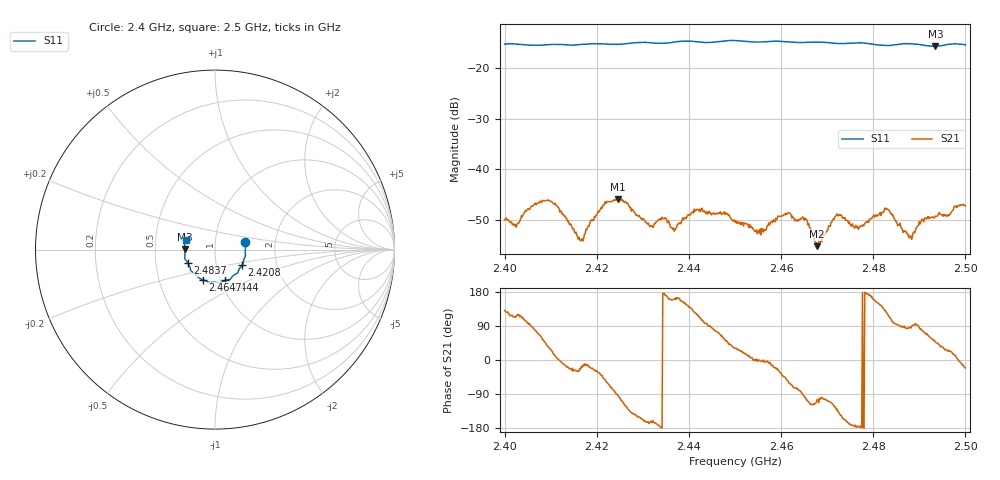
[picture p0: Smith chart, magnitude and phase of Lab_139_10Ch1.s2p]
# Hz S RI R 50
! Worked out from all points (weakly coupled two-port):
!   601 points, 2.4 GHz to 2.5 GHz, reference 50 ohm
!   highest |S21| = -45.86 dB at 2.4245 GHz (marker M1); lowest = -55.2 dB at 2.4678 GHz (marker M2)
!   lowest |S11| = -15.6 dB at 2.4935 GHz (marker M3), VSWR 1.40, Z = 35.8 + j0.215 ohm
!   |S11| at or under -10 dB: start of sweep to end of sweep
!   S12 and S22 are empty: the file has one direction only
!   S11 on the Smith chart (normalised r, x): 2.4 GHz: 1.40, +0.12; 2.4208 GHz: 1.33, -0.24; 2.444 GHz: 1.06, -0.37; 2.4647 GHz: 0.83, -0.29; 2.4837 GHz: 0.73, -0.11; 2.5 GHz: 0.72, +0.08
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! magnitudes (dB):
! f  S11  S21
! 2.4 GHz  -15.2  -50.1
! 2.4025 GHz  -15.2  -51.5
! 2.4097 GHz  -15.3  -46.3
! 2.4167 GHz  -15.3  -54.1
! 2.4208 GHz  -15.2  -47.8
! 2.4245 GHz  -15.2  -45.9
! 2.4333 GHz  -15.1  -50.0
! 2.4368 GHz  -14.8  -52.3
! 2.444 GHz  -14.9  -48.9
! 2.45 GHz  -14.5  -50.5
! 2.4552 GHz  -14.8  -52.1
! 2.4612 GHz  -14.7  -48.9
! 2.4647 GHz  -14.9  -49.4
! 2.4667 GHz  -14.8  -52.7
! 2.4678 GHz  -14.8  -55.2
! 2.4722 GHz  -15.1  -48.8
! 2.4768 GHz  -15.0  -51.9
! 2.4833 GHz  -15.5  -48.0
! 2.4837 GHz  -15.5  -48.5
! 2.488 GHz  -15.1  -53.2
! 2.4935 GHz  -15.6  -49.3
! 2.5 GHz  -15.3  -47.3
